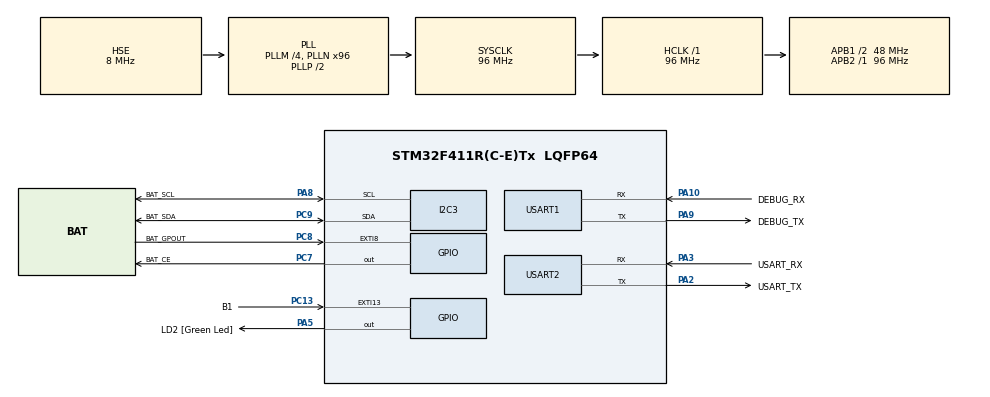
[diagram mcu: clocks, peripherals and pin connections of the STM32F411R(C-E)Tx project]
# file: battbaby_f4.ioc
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I2C3.I2C_Mode=I2C_Fast
Mcu.Family=STM32F4
Mcu.Name=STM32F411R(C-E)Tx
Mcu.Package=LQFP64
NVIC.EXTI15_10_IRQn=true\:0\:0\:false\:false\:true\:true\:true\:true
NVIC.EXTI9_5_IRQn=true\:0\:0\:false\:false\:true\:true\:true\:true
NVIC.PriorityGroup=NVIC_PRIORITYGROUP_0
PA10.GPIO_Label=DEBUG_RX
PA10.Mode=Asynchronous
PA10.Signal=USART1_RX
PA13.GPIO_Label=TMS
PA13.Mode=Serial_Wire
PA13.Signal=SYS_JTMS-SWDIO
PA14.GPIO_Label=TCK
PA14.Mode=Serial_Wire
PA14.Signal=SYS_JTCK-SWCLK
PA2.GPIO_Label=USART_TX
PA2.Mode=Asynchronous
PA2.Signal=USART2_TX
PA3.GPIO_Label=USART_RX
PA3.Mode=Asynchronous
PA3.Signal=USART2_RX
PA5.GPIO_Label=LD2 [Green Led]
PA5.Signal=GPIO_Output
PA8.GPIO_Label=BAT_SCL
PA8.Mode=I2C
PA8.Signal=I2C3_SCL
PA9.GPIO_Label=DEBUG_TX
PA9.Mode=Asynchronous
PA9.Signal=USART1_TX
PB3.GPIO_Label=SWO
PB3.Signal=SYS_JTDO-SWO
PC13-ANTI_TAMP.GPIO_Label=B1
PC13-ANTI_TAMP.Signal=GPXTI13
PC14-OSC32_IN.Mode=LSE-External-Oscillator
PC14-OSC32_IN.Signal=RCC_OSC32_IN
PC15-OSC32_OUT.Mode=LSE-External-Oscillator
PC15-OSC32_OUT.Signal=RCC_OSC32_OUT
PC7.GPIO_Label=BAT_CE
PC7.Signal=GPIO_Output
PC8.GPIO_Label=BAT_GPOUT
PC8.GPIO_ModeDefaultEXTI=GPIO_MODE_IT_FALLING
PC8.Signal=GPXTI8
PC9.GPIO_Label=BAT_SDA
PC9.Mode=I2C
PC9.Signal=I2C3_SDA
PH0\ -\ OSC_IN.Mode=HSE-External-Clock-Source
PH0\ -\ OSC_IN.Signal=RCC_OSC_IN
PH1\ -\ OSC_OUT.Mode=HSE-External-Clock-Source
PH1\ -\ OSC_OUT.Signal=RCC_OSC_OUT
ProjectManager.HeapSize=0x200
ProjectManager.StackSize=0x400
ProjectManager.TargetToolchain=STM32CubeIDE
RCC.48MHZClocksFreq_Value=48000000
RCC.AHBFreq_Value=96000000
RCC.APB1CLKDivider=RCC_HCLK_DIV2
RCC.APB1Freq_Value=48000000
RCC.APB1TimFreq_Value=96000000
RCC.APB2Freq_Value=96000000
RCC.APB2TimFreq_Value=96000000
RCC.CortexFreq_Value=96000000
RCC.FLatency-AdvancedSettings=FLASH_LATENCY_3
RCC.HCLKFreq_Value=96000000
RCC.HSE_VALUE=8000000
RCC.HSI_VALUE=16000000
RCC.PLLM=4
RCC.PLLN=96
RCC.PLLSourceVirtual=RCC_PLLSOURCE_HSE
RCC.SYSCLKFreq_VALUE=96000000
RCC.SYSCLKSource=RCC_SYSCLKSOURCE_PLLCLK
RCC.VCOOutputFreq_Value=192000000
USART1.VirtualMode=VM_ASYNC
USART2.VirtualMode=VM_ASYNC
board=NUCLEO-F411RE

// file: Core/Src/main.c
/* USER CODE BEGIN Header */
/**
  ******************************************************************************
  * @file           : main.c
  * @brief          : Main program body
  ******************************************************************************
  * @attention
  *
  * Copyright (c) 2024 STMicroelectronics.
  * All rights reserved.
  *
  * This software is licensed under terms that can be found in the LICENSE file
  * in the root directory of this software component.
  * If no LICENSE file comes with this software, it is provided AS-IS.
  *
  ******************************************************************************
  */
/* USER CODE END Header */
#include "main.h"

/* USER CODE BEGIN Includes */
#include "stdio.h"
#include "string.h"
#include "battbaby.h"
#include "BQ27441_Definitions.h"
/* USER CODE END Includes */

I2C_HandleTypeDef hi2c3;

UART_HandleTypeDef huart1;
UART_HandleTypeDef huart2;

/* USER CODE BEGIN PV */
BQ27441_ctx_t BQ27441 = {
            .BQ27441_i2c_address = BQ27441_I2C_ADDRESS,
            .read_reg = BQ27441_i2cReadBytes,
            .write_reg = BQ27441_i2cWriteBytes,
};

volatile int bat_charging = 0;
int16_t charge = 0;
/* USER CODE END PV */

void SystemClock_Config(void);
static void MX_GPIO_Init(void);
static void MX_USART2_UART_Init(void);
static void MX_I2C3_Init(void);
static void MX_USART1_UART_Init(void);

/* USER CODE BEGIN 0 */
#ifdef __GNUC__
#define PUTCHAR_PROTOTYPE int __io_putchar(int ch)
#else
#define PUTCHAR_PROTOTYPE int fputc(int ch, FILE *f)
#endif

PUTCHAR_PROTOTYPE
{
  HAL_UART_Transmit(&huart1, (uint8_t *)&ch, 1, HAL_MAX_DELAY);
  return ch;
}
/*
 	function writes to slave.
 	returns HAL_OK if write successful
 	uint16_t memAddress: memory address within the BQ27441 where the data should start being written.
	uint8_t *pData: pointer to the array of data bytes that are to be written to the device.
	uint16_t Size:  number of bytes to write.
*/
HAL_StatusTypeDef BQ27441_i2cWriteBytes(uint16_t memAddress, uint8_t *pData, uint16_t Size) {
    return HAL_I2C_Mem_Write(&hi2c3, BQ27441_I2C_ADDRESS << 1, memAddress, I2C_MEMADD_SIZE_8BIT, pData, Size, HAL_MAX_DELAY);
}
/*
 	function read from slave.
 	returns HAL_OK if read successful
	uint16_t memAddress: memory address within the BQ27441 from which the data should start being read.
	uint8_t *pData: pointer to the buffer where the read data will be stored.
	uint16_t Size: number of bytes to read.
*/
HAL_StatusTypeDef BQ27441_i2cReadBytes(uint16_t memAddress, uint8_t *pData, uint16_t Size) {
    return HAL_I2C_Mem_Read(&hi2c3, BQ27441_I2C_ADDRESS << 1, memAddress, I2C_MEMADD_SIZE_8BIT, pData, Size, HAL_MAX_DELAY);
}
/*
	function uses BQ27441_i2cReadBytes to read strictly two bytes of data
	returns a combined 16 bit word.
	uint16_t subAddress: The sub-address or register address within the BQ27441 device from which the 16-bit word will be read.
*/
uint16_t BQ27441_readWord(uint16_t subAddress) {
    uint8_t data[2];
    BQ27441_i2cReadBytes(subAddress, data, 2);
    return ((uint16_t) data[1] << 8) | data[0];
}
/*
	function gets FILTERED/UNFILTERED SoC using BQ27441_readWord
	returns 16 bit SoC value.
	soc_measure type: enumeration value that specifies filtered or unfiltered SoC value should be read. (filtered is basically smoothed out value<-datasheet said so)
*/
uint16_t BQ27441_soc(soc_measure type) {
    //type = FILTERED;
    uint16_t socRet = 0;
    switch (type) {
        case FILTERED:
            socRet = BQ27441_readWord(BQ27441_COMMAND_SOC);
            break;
        case UNFILTERED:
            socRet = BQ27441_readWord(BQ27441_COMMAND_SOC_UNFL);
            break;
    }
    return socRet;
}
/*
	function gets Voltage using BQ27441_readWord
	returns 16 bit voltage value.
*/
uint16_t BQ27441_voltage(void) {
    return BQ27441_readWord(BQ27441_COMMAND_VOLTAGE);
}
/*
	function gets power using BQ27441_readWord
	returns 16 bit power value.
*/
int16_t BQ27441_power(void) {
    return (int16_t) BQ27441_readWord(BQ27441_COMMAND_AVG_POWER);
}

int16_t BQ27441_opconfig(void) {
    return (int16_t) BQ27441_readWord(BQ27441_EXTENDED_OPCONFIG);
}

uint16_t BQ27441_deviceType(void) {
	// command sent to slave to tell it master wants to know devicetype
	// 0xFF to get right 8 bits of BQ27441_CONTROL_DEVICE_TYPE
	// >>8 to get left 8 bits, discarding right 8 bits of BQ27441_CONTROL_DEVICE_TYPE
    uint8_t command[2] = {BQ27441_CONTROL_DEVICE_TYPE & 0xFF, BQ27441_CONTROL_DEVICE_TYPE >> 8};
    uint8_t data[2];
    uint16_t deviceType = 0;

    BQ27441_i2cWriteBytes(BQ27441_COMMAND_CONTROL, command, sizeof(command)); //write command to slave

    HAL_Delay(10); //delay to ensure device is ready

    if (BQ27441_i2cReadBytes(BQ27441_COMMAND_CONTROL, data, sizeof(data)) == HAL_OK) { //read device type from control register
        deviceType = (data[1] << 8) | data[0];
    }
    return deviceType;
}
// function to initialize battery, check if device type matches
bool BQ27441_init(BQ27441_ctx_t *dev) {
    if (dev == NULL)
        return false;
//    ctx.read_reg = dev->read_reg;
//    ctx.write_reg = dev->write_reg;
//    ctx.BQ27441_i2c_address = dev->BQ27441_i2c_address;

    if (BQ27441_deviceType() == BQ27441_DEVICE_ID) {
        return true;
    } else
        return false;
}

void Bat_init(BQ27441_ctx_t * dev) {
	BQ27441_init(dev);
	check_charging();
	charge = BQ27441_soc(FILTERED);
	HAL_GPIO_WritePin(BAT_CE_GPIO_Port, BAT_CE_Pin, GPIO_PIN_SET);
	if (bat_charging && charge < 99) {
		HAL_GPIO_WritePin(BAT_CE_GPIO_Port, BAT_CE_Pin, GPIO_PIN_RESET);
	}
}

void check_charging(void) {
	uint16_t pow = BQ27441_power();
//	printf("pow: %d\r\n", pow);
	if (pow > 12000) {
		bat_charging = 0;
	}
	else {
		bat_charging = 1;
	}
}

void updateBat(void) {
	charge = BQ27441_soc(FILTERED);
	printf("lcd charge: %d\r\n", charge);
	if (bat_charging){
		if (charge >= 99) {
			HAL_GPIO_WritePin(BAT_CE_GPIO_Port, BAT_CE_Pin, GPIO_PIN_SET);
		}
		else {
			HAL_GPIO_WritePin(BAT_CE_GPIO_Port, BAT_CE_Pin, GPIO_PIN_RESET);
		}
	}

}
/* USER CODE END 0 */

int main(void)
{

  /* MCU Configuration--------------------------------------------------------*/

  /* Reset of all peripherals, Initializes the Flash interface and the Systick. */
  HAL_Init();

  /* Configure the system clock */
  SystemClock_Config();

  /* Initialize all configured peripherals */
  MX_GPIO_Init();
  MX_USART2_UART_Init();
  MX_I2C3_Init();
  MX_USART1_UART_Init();
  /* USER CODE BEGIN 2 */

  // Making sure charging is disabled.
  HAL_GPIO_WritePin(BAT_CE_GPIO_Port, BAT_CE_Pin, GPIO_PIN_RESET);

  printf("Starting I2C device scan...\r\n");
  	HAL_StatusTypeDef res;
  	uint8_t receiveBuffer[1];
  	for(uint16_t i = 0; i < 128; i++) {
  		res = HAL_I2C_Master_Receive(&hi2c3, (uint16_t)i << 1, receiveBuffer, sizeof(receiveBuffer), HAL_MAX_DELAY);
  		if(res == HAL_OK) {
  			printf("Device found at address 0x%02X\r\n", i);
  			fflush(stdout);
  			break;
  		} else {
  			printf(" - ");
  			fflush(stdout);
  		}
  	}

  	printf("\r\n~*BATTBABY*~\r\n");
  	// Checking for connection
  	while (1) {
  		if (HAL_I2C_Master_Receive(&hi2c3, (uint16_t) BQ27441_I2C_ADDRESS << 1, receiveBuffer, sizeof(receiveBuffer), HAL_MAX_DELAY) == HAL_OK) {
  			printf("Device found\r\n");
  			break;
  		}
  	}

    printf("Attempting to read BQ27441 device type...\r\n");
    uint16_t deviceType = BQ27441_deviceType();
    if (deviceType != 0) {
  	  printf("BQ27441 Device Type: 0x%04X\r\n", deviceType);
    } else {
  	  printf("Failed to read BQ27441 device type.\r\n");
    }
    if (BQ27441_init(&BQ27441)) {
    	HAL_Delay(100);
  	  printf("BQ27441 initialization successful.\r\n");
  	  uint16_t socValue = BQ27441_soc(FILTERED);
  	    printf("State of Charge: %u%%\r\n", BQ27441_soc(UNFILTERED));
  	    printf("Voltage: %dmV\r\n", BQ27441_voltage());
  	    uint16_t power = BQ27441_power();
  	    printf("Power: %umAh\r\n", power);
    } else {
  	  printf("BQ27441 initialization failed.\r\n");
    }
    check_charging();
    printf("Charging: %d\r\n", bat_charging);
    printf("%d\r\n", BQ27441_opconfig() & BQ27441_OPCONFIG_BATLOWEN);

  /* USER CODE END 2 */

  /* Infinite loop */
  while (1)
  {

  }
}

void SystemClock_Config(void)
{
  RCC_OscInitTypeDef RCC_OscInitStruct = {0};
  RCC_ClkInitTypeDef RCC_ClkInitStruct = {0};

  /** Configure the main internal regulator output voltage
  */
  __HAL_RCC_PWR_CLK_ENABLE();
  __HAL_PWR_VOLTAGESCALING_CONFIG(PWR_REGULATOR_VOLTAGE_SCALE1);

  /** Initializes the RCC Oscillators according to the specified parameters
  * in the RCC_OscInitTypeDef structure.
  */
  RCC_OscInitStruct.OscillatorType = RCC_OSCILLATORTYPE_HSE;
  RCC_OscInitStruct.HSEState = RCC_HSE_BYPASS;
  RCC_OscInitStruct.PLL.PLLState = RCC_PLL_ON;
  RCC_OscInitStruct.PLL.PLLSource = RCC_PLLSOURCE_HSE;
  RCC_OscInitStruct.PLL.PLLM = 4;
  RCC_OscInitStruct.PLL.PLLN = 96;
  RCC_OscInitStruct.PLL.PLLP = RCC_PLLP_DIV2;
  RCC_OscInitStruct.PLL.PLLQ = 4;
  if (HAL_RCC_OscConfig(&RCC_OscInitStruct) != HAL_OK)
  {
    Error_Handler();
  }

  /** Initializes the CPU, AHB and APB buses clocks
  */
  RCC_ClkInitStruct.ClockType = RCC_CLOCKTYPE_HCLK|RCC_CLOCKTYPE_SYSCLK
                              |RCC_CLOCKTYPE_PCLK1|RCC_CLOCKTYPE_PCLK2;
  RCC_ClkInitStruct.SYSCLKSource = RCC_SYSCLKSOURCE_PLLCLK;
  RCC_ClkInitStruct.AHBCLKDivider = RCC_SYSCLK_DIV1;
  RCC_ClkInitStruct.APB1CLKDivider = RCC_HCLK_DIV2;
  RCC_ClkInitStruct.APB2CLKDivider = RCC_HCLK_DIV1;

  if (HAL_RCC_ClockConfig(&RCC_ClkInitStruct, FLASH_LATENCY_3) != HAL_OK)
  {
    Error_Handler();
  }
}

static void MX_I2C3_Init(void)
{

  hi2c3.Instance = I2C3;
  hi2c3.Init.ClockSpeed = 400000;
  hi2c3.Init.DutyCycle = I2C_DUTYCYCLE_2;
  hi2c3.Init.OwnAddress1 = 0;
  hi2c3.Init.AddressingMode = I2C_ADDRESSINGMODE_7BIT;
  hi2c3.Init.DualAddressMode = I2C_DUALADDRESS_DISABLE;
  hi2c3.Init.OwnAddress2 = 0;
  hi2c3.Init.GeneralCallMode = I2C_GENERALCALL_DISABLE;
  hi2c3.Init.NoStretchMode = I2C_NOSTRETCH_DISABLE;
  if (HAL_I2C_Init(&hi2c3) != HAL_OK)
  {
    Error_Handler();
  }

}

static void MX_USART1_UART_Init(void)
{

  huart1.Instance = USART1;
  huart1.Init.BaudRate = 115200;
  huart1.Init.WordLength = UART_WORDLENGTH_8B;
  huart1.Init.StopBits = UART_STOPBITS_1;
  huart1.Init.Parity = UART_PARITY_NONE;
  huart1.Init.Mode = UART_MODE_TX_RX;
  huart1.Init.HwFlowCtl = UART_HWCONTROL_NONE;
  huart1.Init.OverSampling = UART_OVERSAMPLING_16;
  if (HAL_UART_Init(&huart1) != HAL_OK)
  {
    Error_Handler();
  }

}

static void MX_USART2_UART_Init(void)
{

  huart2.Instance = USART2;
  huart2.Init.BaudRate = 115200;
  huart2.Init.WordLength = UART_WORDLENGTH_8B;
  huart2.Init.StopBits = UART_STOPBITS_1;
  huart2.Init.Parity = UART_PARITY_NONE;
  huart2.Init.Mode = UART_MODE_TX_RX;
  huart2.Init.HwFlowCtl = UART_HWCONTROL_NONE;
  huart2.Init.OverSampling = UART_OVERSAMPLING_16;
  if (HAL_UART_Init(&huart2) != HAL_OK)
  {
    Error_Handler();
  }

}

static void MX_GPIO_Init(void)
{
  GPIO_InitTypeDef GPIO_InitStruct = {0};

  /* GPIO Ports Clock Enable */
  __HAL_RCC_GPIOC_CLK_ENABLE();
  __HAL_RCC_GPIOH_CLK_ENABLE();
  __HAL_RCC_GPIOA_CLK_ENABLE();
  __HAL_RCC_GPIOB_CLK_ENABLE();

  /*Configure GPIO pin Output Level */
  HAL_GPIO_WritePin(LD2_GPIO_Port, LD2_Pin, GPIO_PIN_RESET);

  /*Configure GPIO pin Output Level */
  HAL_GPIO_WritePin(BAT_CE_GPIO_Port, BAT_CE_Pin, GPIO_PIN_RESET);

  /*Configure GPIO pin : B1_Pin */
  GPIO_InitStruct.Pin = B1_Pin;
  GPIO_InitStruct.Mode = GPIO_MODE_IT_RISING;
  GPIO_InitStruct.Pull = GPIO_NOPULL;
  HAL_GPIO_Init(B1_GPIO_Port, &GPIO_InitStruct);

  /*Configure GPIO pin : LD2_Pin */
  GPIO_InitStruct.Pin = LD2_Pin;
  GPIO_InitStruct.Mode = GPIO_MODE_OUTPUT_PP;
  GPIO_InitStruct.Pull = GPIO_NOPULL;
  GPIO_InitStruct.Speed = GPIO_SPEED_FREQ_LOW;
  HAL_GPIO_Init(LD2_GPIO_Port, &GPIO_InitStruct);

  /*Configure GPIO pin : BAT_CE_Pin */
  GPIO_InitStruct.Pin = BAT_CE_Pin;
  GPIO_InitStruct.Mode = GPIO_MODE_OUTPUT_PP;
  GPIO_InitStruct.Pull = GPIO_NOPULL;
  GPIO_InitStruct.Speed = GPIO_SPEED_FREQ_LOW;
  HAL_GPIO_Init(BAT_CE_GPIO_Port, &GPIO_InitStruct);

  /*Configure GPIO pin : BAT_GPOUT_Pin */
  GPIO_InitStruct.Pin = BAT_GPOUT_Pin;
  GPIO_InitStruct.Mode = GPIO_MODE_IT_FALLING;
  GPIO_InitStruct.Pull = GPIO_NOPULL;
  HAL_GPIO_Init(BAT_GPOUT_GPIO_Port, &GPIO_InitStruct);

  /* EXTI interrupt init*/
  HAL_NVIC_SetPriority(EXTI9_5_IRQn, 0, 0);
  HAL_NVIC_EnableIRQ(EXTI9_5_IRQn);

  HAL_NVIC_SetPriority(EXTI15_10_IRQn, 0, 0);
  HAL_NVIC_EnableIRQ(EXTI15_10_IRQn);

}

/* USER CODE BEGIN 4 */
void HAL_GPIO_EXTI_Callback(uint16_t GPIO_Pin) {
	 if ((GPIO_Pin == B1_Pin || BAT_GPOUT_Pin)) {
		 check_charging();
		 updateBat();
	 }
	 else {
		 __NOP();
	 }
}
/* USER CODE END 4 */

void Error_Handler(void)
{
  __disable_irq();
  while (1)
  {
  }
}
